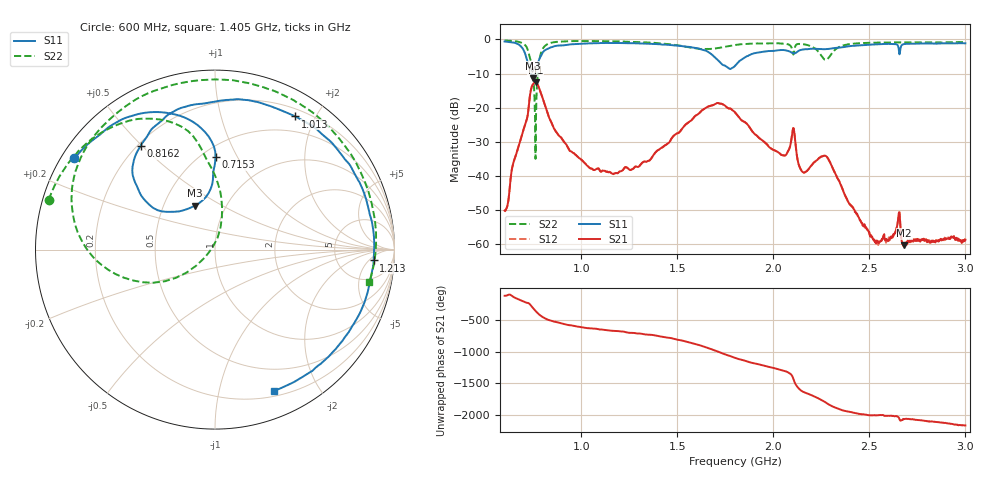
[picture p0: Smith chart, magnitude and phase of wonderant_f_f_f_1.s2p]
#  HZ  S  RI  R  50.00
! Rohde & Schwarz ZVB8 2Ports - Version 2.81 - 1145.1010k08 SN: 100113
! Date: 2016-05-17 22:38:01
! Measurements: S11 S21 S12 S22
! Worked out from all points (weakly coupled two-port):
!   1000 points, 600 MHz to 3 GHz, reference 50 ohm
!   highest |S21| = -12.51 dB at 761 MHz (marker M1); lowest = -60.3 dB at 2.68 GHz (marker M2)
!   lowest |S11| = -11.4 dB at 746.5 MHz (marker M3), VSWR 1.74, Z = 35.8 + j19 ohm
!   |S11| at or under -10 dB: 737 MHz to 760 MHz (22.95 MHz wide, 3.07 % of centre)
!   |S22| runs from -35.0 to -0.3 dB; largest |S21 - S12| = 0.0023
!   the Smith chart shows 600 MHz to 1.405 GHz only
!   S11 on the Smith chart (normalised r, x): 600 MHz: 0.04, +0.30; 715.3 MHz: 0.58, +0.82; 816.2 MHz: 0.21, +0.50; 1.013 GHz: 0.29, +1.73; 1.213 GHz: 13, -7; 1.405 GHz: 0.25, -1.47
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6e8  -0.7841 0.5084  -0.00167 -0.00263  -0.00168 -0.00259  -0.9264 0.2778
7.153153e8  0.00287 0.5148  -0.0406 0.0538  -0.0413 0.053  -0.2682 0.717
7.465465e8  -0.1109 0.2456  0.1439 0.1647  0.1441 0.1649  0.0282 0.3288
7.60961e8  -0.2454 0.2104  0.2367 -0.000177  0.2355 0.00148  -0.015 0.00958
8.162162e8  -0.4137 0.5781  -0.0583 -0.0777  -0.0583 -0.0783  -0.7961 0.2312
1.001201e9  0.3997 0.7633  -0.00354 0.0169  -0.00358 0.0169  -0.2037 0.9253
1.013213e9  0.4471 0.7418  -0.0016 0.0158  -0.00164 0.0158  -0.1561 0.9341
1.212613e9  0.8834 -0.0603  0.00986 0.00684  0.00985 0.00689  0.6279 0.6901
1.4e9  0.3493 -0.7791  0.0192 -0.0144  0.0192 -0.0143  0.8678 -0.1531
1.404805e9  0.3268 -0.7885  0.019 -0.0154  0.0189 -0.0154  0.86 -0.1782
1.616216e9  -0.5916 -0.4225  -0.0846 0.00197  -0.0846 0.00181  0.1333 -0.7149
1.801201e9  -0.4123 -0.0397  0.0792 -0.0304  0.0794 -0.0298  -0.5587 -0.613
1.902102e9  -0.5361 0.3308  -0.0121 -0.0395  -0.0117 -0.0397  -0.8485 -0.2096
2.027027e9  0.0224 0.6945  -0.0206 0.00783  -0.0206 0.00788  -0.794 0.3762
2.103904e9  0.4036 0.4824  0.0495 0.01  0.0494 0.0101  -0.4261 0.4251
2.144745e9  0.5757 0.4076  -0.0122 -0.000794  -0.0122 -0.00093  -0.4911 0.7048
2.2e9  0.7278 0.0795  -0.00493 0.0136  -0.00494 0.0135  -0.1928 0.7632
2.279279e9  0.6394 -0.3409  0.0181 -0.00575  0.0182 -0.00547  -0.1196 0.4952
2.409009e9  0.2111 -0.7759  -0.00331 -0.00146  -0.0033 -0.00146  0.1882 0.8422
2.601201e9  -0.5997 -0.6187  -0.000982 0.000605  -0.00107 0.000666  0.795 0.4284
2.68048e9  -0.737 -0.4363  -0.000113 0.000959  -0.000147 0.000947  0.8937 0.1618
3e9  -0.6534 0.5869  0.00116 -7.7e-05  0.00121 -7.77e-05  0.5381 -0.7384
